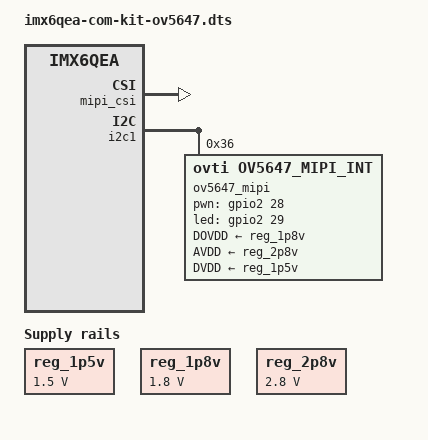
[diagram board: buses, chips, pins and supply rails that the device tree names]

/*
 * Copyright (C) 2018 Embedded Artists AB
 *
 * This program is free software; you can redistribute it and/or modify
 * it under the terms of the GNU General Public License version 2 as
 * published by the Free Software Foundation.
 */

#include "imx6qea-com-kit.dts"

/ {

        regulators {
                compatible = "simple-bus";

                reg_1p5v: 1p5v {
                        compatible = "regulator-fixed";
                        reg = <0>;
                        regulator-name = "1P5V";
                        regulator-min-microvolt = <1500000>;
                        regulator-max-microvolt = <1500000>;
                        regulator-always-on;
                };

                reg_1p8v: 1p8v {
                        compatible = "regulator-fixed";
                        reg = <1>;
                        regulator-name = "1P8V";
                        regulator-min-microvolt = <1800000>;
                        regulator-max-microvolt = <1800000>;
                        regulator-always-on;
                };

                reg_2p8v: 2p8v {
                        compatible = "regulator-fixed";
                        reg = <2>;
                        regulator-name = "2P8V";
                        regulator-min-microvolt = <2800000>;
                        regulator-max-microvolt = <2800000>;
                        regulator-always-on;
                };

	};

        v4l2_cap_0 {
                compatible = "fsl,imx6q-v4l2-capture";
                ipu_id = <0>;
                csi_id = <1>;
                mclk_source = <0>;
		default_input = <1>;
                status = "okay";
        };
};

&mipi_csi {
	ipu_id = <0>;
	csi_id = <1>;
	v_channel = <1>;
	lanes = <2>;
	mipi_dphy_clk = <0x28>;
	status = "okay";
};

&i2c1 {

        ov5647_mipi: ov5647_mipi@36 {
                compatible = "ovti,ov5647_mipi_int";
                reg = <0x36>;
                clocks = <&clks IMX6QDL_CLK_DUMMY>;
                clock-names = "csi_mclk";
		DOVDD-supply = <&reg_1p8v>;
		AVDD-supply = <&reg_2p8v>;
		DVDD-supply = <&reg_1p5v>;
		ipu_id = <0>;
                csi_id = <1>;
                pinctrl-names = "default";
                pinctrl-0 = <&pinctrl_ov5647>;
                pwn-gpios = <&gpio2 28 GPIO_ACTIVE_HIGH>; 
                led-gpios = <&gpio2 29 GPIO_ACTIVE_HIGH>;
                mclk = <25000000>;
                mclk_source = <0>;
        };

};

&iomuxc {

	imx6qea-kit {
                pinctrl_ov5647: ov5647grp {
                        fsl,pins = <
				MX6QDL_PAD_EIM_EB0__GPIO2_IO28	0x1f0b0
				MX6QDL_PAD_EIM_EB1__GPIO2_IO29	0x1f0b0
                        >;
                };
	};
};

